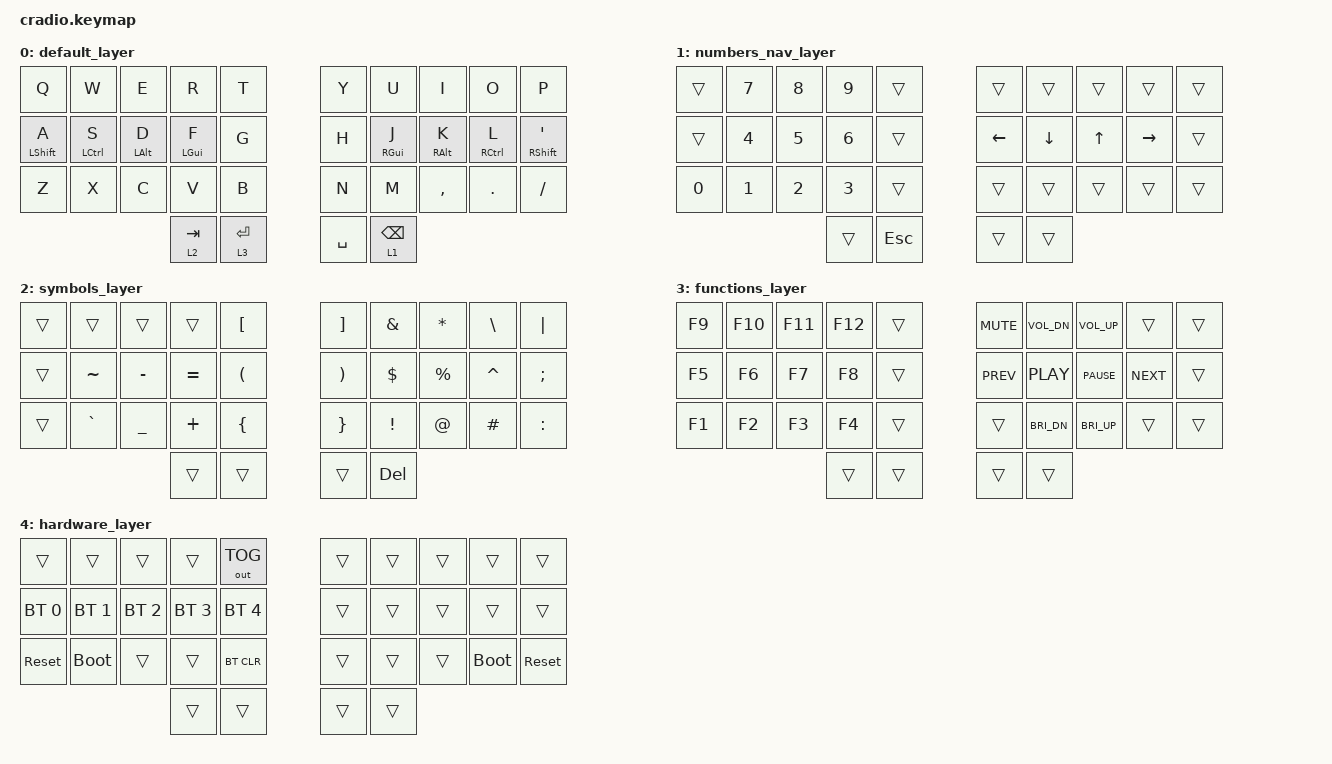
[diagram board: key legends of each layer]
// Copyright (c) 2022 The ZMK Contributors
// SPDX-License-Identifier: MIT

#include <behaviors.dtsi>
#include <dt-bindings/zmk/bt.h>
#include <dt-bindings/zmk/keys.h>
#include <dt-bindings/zmk/outputs.h>

// Home row mods macro
//define HRML(k1,k2,k3,k4) &ht LSHFT k1  &ht LCTRL k2  &ht LALT k3  &ht LGUI k4
//define HRMR(k1,k2,k3,k4) &ht RGUI k1  &ht RALT k2  &ht RCTRL k3  &ht RSHFT k4

&lt {
    tapping-term-ms = <200>;
    quick-tap-ms = <150>;
    require-prior-idle-ms = <100>;
};

/ {
    behaviors {
        ht: hold_tap {
            compatible = "zmk,behavior-hold-tap";
            #binding-cells = <2>;
            flavor = "tap-preferred";
            tapping-term-ms = <200>;
            quick-tap-ms = <150>;
            require-prior-idle-ms = <100>;
            bindings = <&kp>, <&kp>;
        };

        hml: hml {
            compatible = "zmk,behavior-hold-tap";
            label = "HML";
            bindings = <&kp>, <&kp>;

            #binding-cells = <2>;
            tapping-term-ms = <200>;
            quick-tap-ms = <175>;
            require-prior-idle-ms = <150>;
            flavor = "balanced";
            hold-trigger-on-release;
            hold-trigger-key-positions = <30 31 32 33 5 6 7 8 9 15 16 17 18 19 25 26 27 28 29>;
        };

        hmr: hmr {
            compatible = "zmk,behavior-hold-tap";
            label = "HMR";
            bindings = <&kp>, <&kp>;

            #binding-cells = <2>;
            tapping-term-ms = <200>;
            quick-tap-ms = <175>;
            require-prior-idle-ms = <150>;
            flavor = "balanced";
            hold-trigger-on-release;
            hold-trigger-key-positions = <30 31 32 33 0 1 2 3 4 10 11 12 13 14 20 21 22 23 24>;
        };
    };

    conditional_layers { compatible = "zmk,conditional-layers"; };

    combos {
        compatible = "zmk,combos";

        hardware_layer {
            bindings = <&mo 4>;
            key-positions = <32 31>;
            layers = <0>;
        };
    };

    keymap {
        compatible = "zmk,keymap";

        default_layer {
            bindings = <
&kp Q              &kp W                &kp E            &kp R            &kp T          &kp Y      &kp U             &kp I             &kp O                 &kp P
&hml LEFT_SHIFT A  &hml LEFT_CONTROL S  &hml LEFT_ALT D  &hml LEFT_GUI F  &kp G          &kp H      &hmr RIGHT_GUI J  &hmr RIGHT_ALT K  &hmr RIGHT_CONTROL L  &hmr RIGHT_SHIFT SQT
&kp Z              &kp X                &kp C            &kp V            &kp B          &kp N      &kp M             &kp COMMA         &kp DOT               &kp SLASH
                                                         &lt 2 TAB        &lt 3 ENTER    &kp SPACE  &lt 1 BACKSPACE
            >;
        };

        numbers_nav_layer {
            bindings = <
&trans  &kp N7  &kp N8  &kp N9  &trans     &trans    &trans    &trans  &trans     &trans
&trans  &kp N4  &kp N5  &kp N6  &trans     &kp LEFT  &kp DOWN  &kp UP  &kp RIGHT  &trans
&kp N0  &kp N1  &kp N2  &kp N3  &trans     &trans    &trans    &trans  &trans     &trans
                        &trans  &kp ESC    &trans    &trans
            >;
        };

        symbols_layer {
            bindings = <
&trans  &trans     &trans          &trans     &kp LBKT                &kp RBKT               &kp AMPERSAND    &kp ASTERISK  &kp BACKSLASH  &kp PIPE
&trans  &kp TILDE  &kp MINUS       &kp EQUAL  &kp LEFT_PARENTHESIS    &kp RIGHT_PARENTHESIS  &kp DOLLAR       &kp PERCENT   &kp CARET      &kp SEMICOLON
&trans  &kp GRAVE  &kp UNDERSCORE  &kp PLUS   &kp LEFT_BRACE          &kp RIGHT_BRACE        &kp EXCLAMATION  &kp AT_SIGN   &kp HASH       &kp COLON
                                   &trans     &trans                  &trans                 &kp DEL
            >;
        };

        functions_layer {
            bindings = <
&kp F9  &kp F10  &kp F11  &kp F12  &trans    &kp C_MUTE  &kp C_VOL_DN  &kp C_VOL_UP  &trans      &trans
&kp F5  &kp F6   &kp F7   &kp F8   &trans    &kp C_PREV  &kp C_PLAY    &kp C_PAUSE   &kp C_NEXT  &trans
&kp F1  &kp F2   &kp F3   &kp F4   &trans    &trans      &kp C_BRI_DN  &kp C_BRI_UP  &trans      &trans
                          &trans   &trans    &trans      &trans
            >;
        };

        hardware_layer {
            bindings = <
&trans        &trans        &trans        &trans        &out OUT_TOG    &trans  &trans  &trans  &trans       &trans
&bt BT_SEL 0  &bt BT_SEL 1  &bt BT_SEL 2  &bt BT_SEL 3  &bt BT_SEL 4    &trans  &trans  &trans  &trans       &trans
&sys_reset    &bootloader   &trans        &trans        &bt BT_CLR      &trans  &trans  &trans  &bootloader  &sys_reset
                                          &trans        &trans          &trans  &trans
            >;
        };
    };
};
